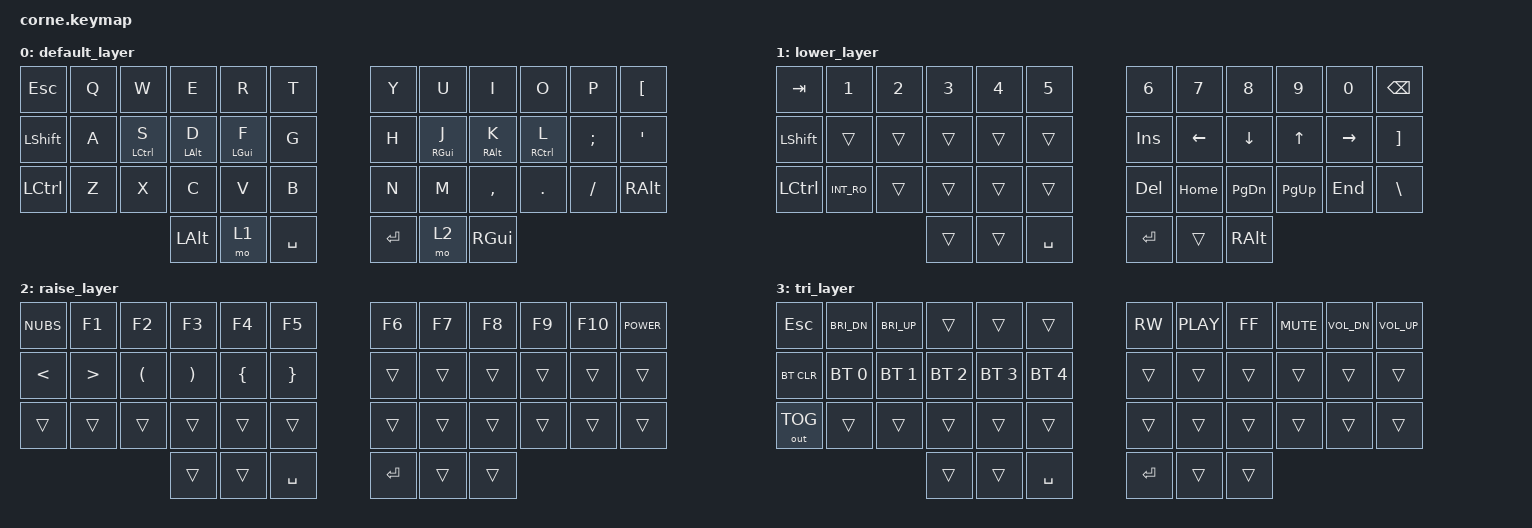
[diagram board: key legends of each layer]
/*
 * Copyright (c) 2020 The ZMK Contributors
 *
 * SPDX-License-Identifier: MIT
 */

#include <behaviors.dtsi>
#include <dt-bindings/zmk/keys.h>
#include <dt-bindings/zmk/bt.h>
#include <dt-bindings/zmk/outputs.h>


/ {
        behaviors {
                ht: hold_tap {
                        label = "hold_tap";
                        compatible = "zmk,behavior-hold-tap";
                        #binding-cells = <2>;
                        flavor = "tap-preferred";
                        tapping-term-ms = <200>;
                        quick-tap-ms = <150>;
                        global-quick-tap;
                        bindings = <&kp>, <&kp>;
                };
        };

        conditional_layers {
                compatible = "zmk,conditional-layers";
                tri_layer {
                        if-layers = <1 2>;
                        then-layer = <3>;
                };
        };

        keymap {
                compatible = "zmk,keymap";

                default_layer {
                        bindings = <
//    ┌───────────┬───────┬─────────────┬────────────┬────────────┬───────┐                         ┌───────┬────────────┬────────────┬─────────────┬───────┬──────────┐
//    │  &kp ESC  │ &kp Q │    &kp W    │   &kp E    │   &kp R    │ &kp T │                         │ &kp Z │   &kp U    │   &kp I    │    &kp O    │ &kp P │  &kp Ü   │
//    ├───────────┼───────┼─────────────┼────────────┼────────────┼───────┤                         ├───────┼────────────┼────────────┼─────────────┼───────┼──────────┤
//    │ &kp LSHFT │ &kp A │ &ht LCTRL S │ &ht LALT D │ &ht LGUI F │ &kp G │                         │ &kp H │ &ht RGUI J │ &ht RALT K │ &ht RCTRL L │ &kp Ö │  &kp Ä   │
//    ├───────────┼───────┼─────────────┼────────────┼────────────┼───────┤                         ├───────┼────────────┼────────────┼─────────────┼───────┼──────────┤
//    │ &kp LCTRL │ &kp Z │    &kp X    │   &kp C    │   &kp V    │ &kp B │                         │ &kp N │   &kp M    │ &kp COMMA  │   &kp DOT   │ &kp - │ &kp RALT │
//    └───────────┴───────┴─────────────┴────────────┼────────────┼───────┼───────────┐   ┌─────────┼───────┼────────────┼────────────┴─────────────┴───────┴──────────┘
//                                                   │  &kp LALT  │ &mo 1 │ &kp SPACE │   │ &kp RET │ &mo 2 │  &kp RGUI  │                                              
//                                                   └────────────┴───────┴───────────┘   └─────────┴───────┴────────────┘                                              
  &kp ESC     &kp Q   &kp W         &kp E        &kp R        &kp T                             &kp Y   &kp U        &kp I        &kp O         &kp P      &kp LBKT
  &kp LSHFT   &kp A   &ht LCTRL S   &ht LALT D   &ht LGUI F   &kp G                             &kp H   &ht RGUI J   &ht RALT K   &ht RCTRL L   &kp SEMI   &kp SQT 
  &kp LCTRL   &kp Z   &kp X         &kp C        &kp V        &kp B                             &kp N   &kp M        &kp COMMA    &kp DOT       &kp FSLH   &kp RALT
                                                 &kp LALT     &mo 1   &kp SPACE       &kp RET   &mo 2   &kp RGUI                                                   
                        >;
                };
                lower_layer {
                        bindings = <
//    ┌───────────┬────────────┬────────┬────────┬────────┬────────┐                         ┌─────────┬──────────┬───────────┬───────────┬───────────┬──────────┐
//    │  &kp TAB  │   &kp N1   │ &kp N2 │ &kp N3 │ &kp N4 │ &kp N5 │                         │ &kp N6  │  &kp N7  │  &kp N8   │  &kp N9   │  &kp N0   │ &kp BSPC │
//    ├───────────┼────────────┼────────┼────────┼────────┼────────┤                         ├─────────┼──────────┼───────────┼───────────┼───────────┼──────────┤
//    │ &kp LSHFT │   &trans   │ &trans │ &trans │ &trans │ &trans │                         │ &kp INS │ &kp LEFT │ &kp DOWN  │  &kp UP   │ &kp RIGHT │  &kp +   │
//    ├───────────┼────────────┼────────┼────────┼────────┼────────┤                         ├─────────┼──────────┼───────────┼───────────┼───────────┼──────────┤
//    │ &kp LCTRL │ &kp INT_RO │ &trans │ &trans │ &trans │ &trans │                         │ &kp DEL │ &kp HOME │ &kp PG_DN │ &kp PG_UP │  &kp END  │  &kp #   │
//    └───────────┴────────────┴────────┴────────┼────────┼────────┼───────────┐   ┌─────────┼─────────┼──────────┼───────────┴───────────┴───────────┴──────────┘
//                                               │ &trans │ &trans │ &kp SPACE │   │ &kp RET │ &trans  │ &kp RALT │                                               
//                                               └────────┴────────┴───────────┘   └─────────┴─────────┴──────────┘                                               
  &kp TAB     &kp N1       &kp N2   &kp N3   &kp N4   &kp N5                             &kp N6    &kp N7     &kp N8      &kp N9      &kp N0      &kp BSPC
  &kp LSHFT   &trans       &trans   &trans   &trans   &trans                             &kp INS   &kp LEFT   &kp DOWN    &kp UP      &kp RIGHT   &kp RBKT
  &kp LCTRL   &kp INT_RO   &trans   &trans   &trans   &trans                             &kp DEL   &kp HOME   &kp PG_DN   &kp PG_UP   &kp END     &kp BSLH
                                             &trans   &trans   &kp SPACE       &kp RET   &trans    &kp RALT                                               
                        >;
                };

                raise_layer {
                        bindings = <
//    ┌──────────┬────────┬──────────┬──────────┬──────────┬──────────┐                         ┌────────┬────────┬────────┬────────┬─────────┬─────────────┐
//    │ &kp NUBS │ &kp F1 │  &kp F2  │  &kp F3  │  &kp F4  │  &kp F5  │                         │ &kp F6 │ &kp F7 │ &kp F8 │ &kp F9 │ &kp F10 │ &kp C_POWER │
//    ├──────────┼────────┼──────────┼──────────┼──────────┼──────────┤                         ├────────┼────────┼────────┼────────┼─────────┼─────────────┤
//    │  &kp LT  │ &kp GT │ &kp LPAR │ &kp RPAR │ &kp LBRC │ &kp RBRC │                         │ &trans │ &trans │ &trans │ &trans │ &trans  │   &trans    │
//    ├──────────┼────────┼──────────┼──────────┼──────────┼──────────┤                         ├────────┼────────┼────────┼────────┼─────────┼─────────────┤
//    │  &trans  │ &trans │  &trans  │  &trans  │  &trans  │  &trans  │                         │ &trans │ &trans │ &trans │ &trans │ &trans  │   &trans    │
//    └──────────┴────────┴──────────┴──────────┼──────────┼──────────┼───────────┐   ┌─────────┼────────┼────────┼────────┴────────┴─────────┴─────────────┘
//                                              │  &trans  │  &trans  │ &kp SPACE │   │ &kp RET │ &trans │ &trans │                                          
//                                              └──────────┴──────────┴───────────┘   └─────────┴────────┴────────┘                                          
  &kp NUBS   &kp F1   &kp F2     &kp F3     &kp F4     &kp F5                               &kp F6   &kp F7   &kp F8   &kp F9   &kp F10   &kp C_POWER
  &kp LT     &kp GT   &kp LPAR   &kp RPAR   &kp LBRC   &kp RBRC                             &trans   &trans   &trans   &trans   &trans    &trans     
  &trans     &trans   &trans     &trans     &trans     &trans                               &trans   &trans   &trans   &trans   &trans    &trans     
                                            &trans     &trans     &kp SPACE       &kp RET   &trans   &trans                                          
                        >;
                };

                tri_layer {
                        bindings = <
//    ┌──────────────┬──────────────┬──────────────┬──────────────┬──────────────┬──────────────┐                         ┌──────────┬────────────┬──────────┬────────────┬──────────────┬──────────────┐
//    │   &kp ESC    │ &kp C_BRI_DN │ &kp C_BRI_UP │    &trans    │    &trans    │    &trans    │                         │ &kp C_RW │ &kp C_PLAZ │ &kp C_FF │ &kp C_MUTE │ &kp C_VOL_DN │ &kp C_VOL_UP │
//    ├──────────────┼──────────────┼──────────────┼──────────────┼──────────────┼──────────────┤                         ├──────────┼────────────┼──────────┼────────────┼──────────────┼──────────────┤
//    │  &bt BT_CLR  │ &bt BT_SEL 0 │ &bt BT_SEL 1 │ &bt BT_SEL 2 │ &bt BT_SEL 3 │ &bt BT_SEL 4 │                         │  &trans  │   &trans   │  &trans  │   &trans   │    &trans    │    &trans    │
//    ├──────────────┼──────────────┼──────────────┼──────────────┼──────────────┼──────────────┤                         ├──────────┼────────────┼──────────┼────────────┼──────────────┼──────────────┤
//    │ &out OUT_TOG │    &trans    │    &trans    │    &trans    │    &trans    │    &trans    │                         │  &trans  │   &trans   │  &trans  │   &trans   │    &trans    │    &trans    │
//    └──────────────┴──────────────┴──────────────┴──────────────┼──────────────┼──────────────┼───────────┐   ┌─────────┼──────────┼────────────┼──────────┴────────────┴──────────────┴──────────────┘
//                                                                │    &trans    │    &trans    │ &kp SPACE │   │ &kp RET │  &trans  │   &trans   │                                                      
//                                                                └──────────────┴──────────────┴───────────┘   └─────────┴──────────┴────────────┘                                                      
  &kp ESC        &kp C_BRI_DN   &kp C_BRI_UP   &trans         &trans         &trans                                   &kp C_RW   &kp C_PLAY   &kp C_FF   &kp C_MUTE   &kp C_VOL_DN   &kp C_VOL_UP
  &bt BT_CLR     &bt BT_SEL 0   &bt BT_SEL 1   &bt BT_SEL 2   &bt BT_SEL 3   &bt BT_SEL 4                             &trans     &trans       &trans     &trans       &trans         &trans      
  &out OUT_TOG   &trans         &trans         &trans         &trans         &trans                                   &trans     &trans       &trans     &trans       &trans         &trans      
                                                              &trans         &trans         &kp SPACE       &kp RET   &trans     &trans                                                          
                        >;
                };
        };
};
